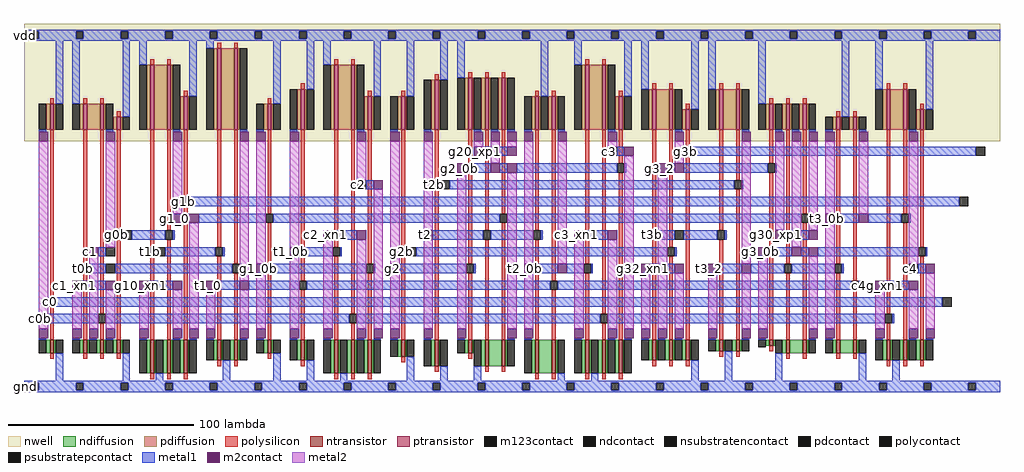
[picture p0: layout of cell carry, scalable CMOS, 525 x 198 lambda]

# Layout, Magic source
magic
tech scmos
<< nwell >>
rect 0 135 525 198
<< ntransistor >>
rect 14 21 16 28
rect 32 21 34 28
rect 41 21 43 28
rect 50 21 52 28
rect 68 10 70 28
rect 77 10 79 28
rect 86 10 88 28
rect 104 17 106 28
rect 113 17 115 28
rect 131 21 133 28
rect 149 17 151 28
rect 167 10 169 28
rect 176 10 178 28
rect 185 10 187 28
rect 203 19 205 28
rect 221 14 223 28
rect 239 21 241 28
rect 248 14 250 28
rect 257 14 259 28
rect 275 10 277 28
rect 284 10 286 28
rect 302 10 304 28
rect 311 10 313 28
rect 320 10 322 28
rect 338 17 340 28
rect 347 17 349 28
rect 356 17 358 28
rect 374 22 376 28
rect 383 22 385 28
rect 401 25 403 28
rect 410 21 412 28
rect 419 21 421 28
rect 437 21 439 28
rect 446 21 448 28
rect 464 17 466 28
rect 473 17 475 28
rect 482 17 484 28
<< ptransistor >>
rect 14 141 16 155
rect 32 141 34 155
rect 41 141 43 155
rect 50 141 52 148
rect 68 141 70 176
rect 77 141 79 176
rect 86 141 88 159
rect 104 141 106 185
rect 113 141 115 185
rect 131 141 133 155
rect 149 141 151 163
rect 167 141 169 176
rect 176 141 178 176
rect 185 141 187 159
rect 203 141 205 159
rect 221 141 223 168
rect 239 141 241 169
rect 248 141 250 169
rect 257 141 259 169
rect 275 141 277 159
rect 284 141 286 159
rect 302 141 304 176
rect 311 141 313 176
rect 320 141 322 159
rect 338 141 340 163
rect 347 141 349 163
rect 356 141 358 152
rect 374 141 376 163
rect 383 141 385 163
rect 401 141 403 155
rect 410 141 412 155
rect 419 141 421 155
rect 437 141 439 148
rect 446 141 448 148
rect 464 141 466 163
rect 473 141 475 163
rect 482 141 484 152
<< ndiffusion >>
rect 12 21 14 28
rect 16 21 17 28
rect 30 21 32 28
rect 34 21 35 28
rect 39 21 41 28
rect 43 21 44 28
rect 48 21 50 28
rect 52 21 53 28
rect 66 10 68 28
rect 70 10 71 28
rect 75 10 77 28
rect 79 10 80 28
rect 84 10 86 28
rect 88 10 89 28
rect 102 17 104 28
rect 106 17 107 28
rect 111 17 113 28
rect 115 17 116 28
rect 129 21 131 28
rect 133 21 134 28
rect 147 17 149 28
rect 151 17 152 28
rect 165 10 167 28
rect 169 10 170 28
rect 174 10 176 28
rect 178 10 179 28
rect 183 10 185 28
rect 187 10 188 28
rect 201 19 203 28
rect 205 19 206 28
rect 219 14 221 28
rect 223 14 224 28
rect 237 21 239 28
rect 241 21 242 28
rect 246 14 248 28
rect 250 14 257 28
rect 259 14 260 28
rect 273 10 275 28
rect 277 10 284 28
rect 286 10 287 28
rect 300 10 302 28
rect 304 10 305 28
rect 309 10 311 28
rect 313 10 314 28
rect 318 10 320 28
rect 322 10 323 28
rect 336 17 338 28
rect 340 17 341 28
rect 345 17 347 28
rect 349 17 350 28
rect 354 17 356 28
rect 358 17 359 28
rect 372 22 374 28
rect 376 22 377 28
rect 381 22 383 28
rect 385 22 386 28
rect 399 25 401 28
rect 403 25 404 28
rect 408 21 410 28
rect 412 21 419 28
rect 421 21 422 28
rect 435 21 437 28
rect 439 21 446 28
rect 448 21 449 28
rect 462 17 464 28
rect 466 17 467 28
rect 471 17 473 28
rect 475 17 476 28
rect 480 17 482 28
rect 484 17 485 28
<< pdiffusion >>
rect 12 141 14 155
rect 16 141 17 155
rect 30 141 32 155
rect 34 141 41 155
rect 43 141 44 155
rect 48 141 50 148
rect 52 141 53 148
rect 66 141 68 176
rect 70 141 77 176
rect 79 141 80 176
rect 84 141 86 159
rect 88 141 89 159
rect 102 141 104 185
rect 106 141 113 185
rect 115 141 116 185
rect 129 141 131 155
rect 133 141 134 155
rect 147 141 149 163
rect 151 141 152 163
rect 165 141 167 176
rect 169 141 176 176
rect 178 141 179 176
rect 183 141 185 159
rect 187 141 188 159
rect 201 141 203 159
rect 205 141 206 159
rect 219 141 221 168
rect 223 141 224 168
rect 237 141 239 169
rect 241 141 242 169
rect 246 141 248 169
rect 250 141 251 169
rect 255 141 257 169
rect 259 141 260 169
rect 273 141 275 159
rect 277 141 278 159
rect 282 141 284 159
rect 286 141 287 159
rect 300 141 302 176
rect 304 141 311 176
rect 313 141 314 176
rect 318 141 320 159
rect 322 141 323 159
rect 336 141 338 163
rect 340 141 347 163
rect 349 141 350 163
rect 354 141 356 152
rect 358 141 359 152
rect 372 141 374 163
rect 376 141 383 163
rect 385 141 386 163
rect 399 141 401 155
rect 403 141 404 155
rect 408 141 410 155
rect 412 141 413 155
rect 417 141 419 155
rect 421 141 422 155
rect 435 141 437 148
rect 439 141 440 148
rect 444 141 446 148
rect 448 141 449 148
rect 462 141 464 163
rect 466 141 473 163
rect 475 141 476 163
rect 480 141 482 152
rect 484 141 485 152
<< ndcontact >>
rect 8 21 12 28
rect 17 21 21 28
rect 26 21 30 28
rect 35 21 39 28
rect 44 21 48 28
rect 53 21 57 28
rect 62 10 66 28
rect 71 10 75 28
rect 80 10 84 28
rect 89 10 93 28
rect 98 17 102 28
rect 107 17 111 28
rect 116 17 120 28
rect 125 21 129 28
rect 134 21 138 28
rect 143 17 147 28
rect 152 17 156 28
rect 161 10 165 28
rect 170 10 174 28
rect 179 10 183 28
rect 188 10 192 28
rect 197 19 201 28
rect 206 19 210 28
rect 215 14 219 28
rect 224 14 228 28
rect 233 21 237 28
rect 242 14 246 28
rect 260 14 264 28
rect 269 10 273 28
rect 287 10 291 28
rect 296 10 300 28
rect 305 10 309 28
rect 314 10 318 28
rect 323 10 327 28
rect 332 17 336 28
rect 341 17 345 28
rect 350 17 354 28
rect 359 17 363 28
rect 368 22 372 28
rect 377 22 381 28
rect 386 22 390 28
rect 395 24 399 28
rect 404 21 408 28
rect 422 21 426 28
rect 431 21 435 28
rect 449 21 453 28
rect 458 17 462 28
rect 467 17 471 28
rect 476 17 480 28
rect 485 17 489 28
<< pdcontact >>
rect 8 141 12 155
rect 17 141 21 155
rect 26 141 30 155
rect 44 141 48 155
rect 53 141 57 148
rect 62 141 66 176
rect 80 141 84 176
rect 89 141 93 159
rect 98 141 102 185
rect 116 141 120 185
rect 125 141 129 155
rect 134 141 138 155
rect 143 141 147 163
rect 152 141 156 163
rect 161 141 165 176
rect 179 141 183 176
rect 188 141 192 159
rect 197 141 201 159
rect 206 141 210 159
rect 215 141 219 168
rect 224 141 228 168
rect 233 141 237 169
rect 242 141 246 169
rect 251 141 255 169
rect 260 141 264 169
rect 269 141 273 159
rect 278 141 282 159
rect 287 141 291 159
rect 296 141 300 176
rect 314 141 318 176
rect 323 141 327 159
rect 332 141 336 163
rect 350 141 354 163
rect 359 141 363 152
rect 368 141 372 163
rect 386 141 390 163
rect 395 141 399 155
rect 404 141 408 155
rect 413 141 417 155
rect 422 141 426 155
rect 431 141 435 148
rect 440 141 444 148
rect 449 141 453 148
rect 458 141 462 163
rect 476 141 480 163
rect 485 141 489 152
<< psubstratepcontact >>
rect 4 1 8 5
rect 28 1 32 5
rect 52 1 56 5
rect 76 1 80 5
rect 100 1 104 5
rect 124 1 128 5
rect 148 1 152 5
rect 172 1 176 5
rect 196 1 200 5
rect 220 1 224 5
rect 244 1 248 5
rect 268 1 272 5
rect 292 1 296 5
rect 316 1 320 5
rect 340 1 344 5
rect 364 1 368 5
rect 388 1 392 5
rect 412 1 416 5
rect 436 1 440 5
rect 460 1 464 5
rect 484 1 488 5
rect 508 1 512 5
<< nsubstratencontact >>
rect 4 190 8 194
rect 28 190 32 194
rect 52 190 56 194
rect 76 190 80 194
rect 100 190 104 194
rect 124 190 128 194
rect 148 190 152 194
rect 172 190 176 194
rect 196 190 200 194
rect 220 190 224 194
rect 244 190 248 194
rect 268 190 272 194
rect 292 190 296 194
rect 316 190 320 194
rect 340 190 344 194
rect 364 190 368 194
rect 388 190 392 194
rect 412 190 416 194
rect 436 190 440 194
rect 460 190 464 194
rect 484 190 488 194
rect 508 190 512 194
<< polysilicon >>
rect 104 185 106 188
rect 113 185 115 188
rect 68 176 70 179
rect 77 176 79 179
rect 14 155 16 158
rect 32 155 34 158
rect 41 155 43 158
rect 50 148 52 151
rect 86 159 88 162
rect 167 176 169 179
rect 176 176 178 179
rect 302 176 304 179
rect 311 176 313 179
rect 149 163 151 166
rect 131 155 133 158
rect 221 168 223 171
rect 239 169 241 172
rect 248 169 250 172
rect 257 169 259 172
rect 185 159 187 162
rect 203 159 205 162
rect 275 159 277 162
rect 284 159 286 162
rect 338 163 340 166
rect 347 163 349 166
rect 374 163 376 166
rect 383 163 385 166
rect 464 163 466 166
rect 473 163 475 166
rect 320 159 322 162
rect 356 152 358 155
rect 401 155 403 158
rect 410 155 412 158
rect 419 155 421 158
rect 437 148 439 151
rect 446 148 448 151
rect 482 152 484 155
rect 14 51 16 141
rect 32 69 34 141
rect 14 28 16 46
rect 32 28 34 64
rect 41 42 43 141
rect 50 87 52 141
rect 41 28 43 37
rect 50 28 52 82
rect 68 78 70 141
rect 77 87 79 141
rect 86 105 88 141
rect 68 28 70 73
rect 77 28 79 82
rect 86 28 88 100
rect 104 78 106 141
rect 104 28 106 73
rect 113 69 115 141
rect 131 96 133 141
rect 113 28 115 64
rect 131 28 133 91
rect 149 60 151 141
rect 167 78 169 141
rect 149 28 151 55
rect 167 28 169 73
rect 176 42 178 141
rect 185 69 187 141
rect 203 78 205 141
rect 221 114 223 141
rect 176 28 178 37
rect 185 28 187 64
rect 203 28 205 73
rect 221 28 223 109
rect 239 69 241 141
rect 248 87 250 141
rect 257 96 259 141
rect 239 28 241 64
rect 248 28 250 82
rect 257 28 259 91
rect 275 87 277 141
rect 275 28 277 82
rect 284 60 286 141
rect 302 69 304 141
rect 284 28 286 55
rect 302 28 304 64
rect 311 42 313 141
rect 320 123 322 141
rect 311 28 313 37
rect 320 28 322 118
rect 338 87 340 141
rect 338 28 340 82
rect 347 78 349 141
rect 356 132 358 141
rect 347 28 349 73
rect 356 28 358 127
rect 374 87 376 141
rect 383 114 385 141
rect 401 123 403 141
rect 374 28 376 82
rect 383 28 385 109
rect 401 28 403 118
rect 410 69 412 141
rect 419 96 421 141
rect 410 28 412 64
rect 419 28 421 91
rect 437 69 439 141
rect 437 28 439 64
rect 446 60 448 141
rect 446 28 448 55
rect 464 42 466 141
rect 473 96 475 141
rect 464 28 466 37
rect 473 28 475 91
rect 482 78 484 141
rect 482 28 484 73
rect 14 18 16 21
rect 32 18 34 21
rect 41 18 43 21
rect 50 18 52 21
rect 131 18 133 21
rect 104 14 106 17
rect 113 14 115 17
rect 149 14 151 17
rect 203 16 205 19
rect 239 18 241 21
rect 221 11 223 14
rect 248 11 250 14
rect 257 11 259 14
rect 401 22 403 25
rect 374 19 376 22
rect 383 19 385 22
rect 410 18 412 21
rect 419 18 421 21
rect 437 18 439 21
rect 446 18 448 21
rect 338 14 340 17
rect 347 14 349 17
rect 356 14 358 17
rect 464 14 466 17
rect 473 14 475 17
rect 482 14 484 17
rect 68 7 70 10
rect 77 7 79 10
rect 86 7 88 10
rect 167 7 169 10
rect 176 7 178 10
rect 185 7 187 10
rect 275 7 277 10
rect 284 7 286 10
rect 302 7 304 10
rect 311 7 313 10
rect 320 7 322 10
<< polycontact >>
rect 31 64 35 69
rect 13 46 17 51
rect 49 82 53 87
rect 40 37 44 42
rect 85 100 89 105
rect 76 82 80 87
rect 67 73 71 78
rect 103 73 107 78
rect 130 91 134 96
rect 112 64 116 69
rect 166 73 170 78
rect 148 55 152 60
rect 220 109 224 114
rect 202 73 206 78
rect 184 64 188 69
rect 175 37 179 42
rect 256 91 260 96
rect 247 82 251 87
rect 238 64 242 69
rect 274 82 278 87
rect 301 64 305 69
rect 283 55 287 60
rect 319 118 323 123
rect 310 37 314 42
rect 337 82 341 87
rect 355 127 359 132
rect 346 73 350 78
rect 400 118 404 123
rect 382 109 386 114
rect 373 82 377 87
rect 418 91 422 96
rect 409 64 413 69
rect 436 64 440 69
rect 445 55 449 60
rect 472 91 476 96
rect 463 37 467 42
rect 481 73 485 78
<< metal1 >>
rect 0 194 525 195
rect 0 190 4 194
rect 8 190 28 194
rect 32 190 52 194
rect 56 190 76 194
rect 80 190 100 194
rect 104 190 124 194
rect 128 190 148 194
rect 152 190 172 194
rect 176 190 196 194
rect 200 190 220 194
rect 224 190 244 194
rect 248 190 268 194
rect 272 190 292 194
rect 296 190 316 194
rect 320 190 340 194
rect 344 190 364 194
rect 368 190 388 194
rect 392 190 412 194
rect 416 190 436 194
rect 440 190 460 194
rect 464 190 484 194
rect 488 190 508 194
rect 512 190 525 194
rect 0 189 525 190
rect 17 155 21 189
rect 26 155 30 189
rect 53 148 57 189
rect 62 176 66 189
rect 89 159 93 189
rect 98 185 102 189
rect 134 155 138 189
rect 152 163 156 189
rect 8 140 12 141
rect 44 140 48 141
rect 80 140 84 141
rect 116 140 120 141
rect 161 176 165 189
rect 188 159 192 189
rect 206 159 210 189
rect 224 168 228 189
rect 233 169 237 189
rect 125 140 129 141
rect 143 140 147 141
rect 179 140 183 141
rect 197 140 201 141
rect 215 140 219 141
rect 242 140 246 141
rect 251 140 255 141
rect 278 159 282 189
rect 296 176 300 189
rect 260 140 264 141
rect 323 159 327 189
rect 332 163 336 189
rect 359 152 363 189
rect 368 163 372 189
rect 395 155 399 189
rect 269 140 273 141
rect 287 140 291 141
rect 314 140 318 141
rect 350 140 354 141
rect 386 140 390 141
rect 404 140 408 141
rect 413 140 417 141
rect 440 148 444 189
rect 458 163 462 189
rect 422 140 426 141
rect 485 152 489 189
rect 431 140 435 141
rect 449 140 453 141
rect 476 140 480 141
rect 247 127 260 132
rect 319 127 323 132
rect 359 127 512 132
rect 238 118 251 123
rect 256 118 260 123
rect 265 118 319 123
rect 323 118 324 123
rect 346 118 350 123
rect 355 118 400 123
rect 404 118 405 123
rect 184 109 188 114
rect 229 109 382 114
rect 386 109 387 114
rect 89 100 503 105
rect 85 91 89 96
rect 94 91 130 96
rect 134 91 256 96
rect 260 91 418 96
rect 422 91 423 96
rect 436 91 449 96
rect 454 91 472 96
rect 476 91 477 96
rect 58 82 76 87
rect 80 82 81 87
rect 166 82 179 87
rect 220 82 247 87
rect 251 82 274 87
rect 278 82 279 87
rect 301 82 314 87
rect 341 82 350 87
rect 355 82 373 87
rect 377 82 378 87
rect 409 82 422 87
rect 40 73 44 78
rect 76 73 103 78
rect 107 73 108 78
rect 148 73 166 78
rect 170 73 171 78
rect 211 73 346 78
rect 350 73 351 78
rect 400 73 413 78
rect 418 73 422 78
rect 427 73 481 78
rect 485 73 486 78
rect 35 64 44 69
rect 49 64 112 69
rect 116 64 117 69
rect 130 64 184 69
rect 188 64 189 69
rect 202 64 238 69
rect 242 64 243 69
rect 274 64 287 69
rect 292 64 301 69
rect 305 64 306 69
rect 337 64 350 69
rect 373 64 386 69
rect 391 64 409 69
rect 413 64 436 69
rect 440 64 441 69
rect 481 64 485 69
rect 31 55 44 60
rect 67 55 80 60
rect 103 55 116 60
rect 121 55 148 60
rect 152 55 283 60
rect 287 55 445 60
rect 449 55 450 60
rect 463 55 476 60
rect 17 46 494 51
rect 13 37 40 42
rect 44 37 175 42
rect 179 37 310 42
rect 314 37 463 42
rect 467 37 468 42
rect 8 28 12 29
rect 26 28 30 29
rect 35 28 39 29
rect 44 28 48 29
rect 62 28 66 29
rect 80 28 84 29
rect 17 6 21 21
rect 53 6 57 21
rect 89 28 93 29
rect 98 28 102 29
rect 116 28 120 29
rect 125 28 129 29
rect 143 28 147 29
rect 161 28 165 29
rect 179 28 183 29
rect 71 6 75 10
rect 107 6 111 17
rect 134 6 138 21
rect 152 6 156 17
rect 188 28 192 29
rect 197 28 201 29
rect 215 28 219 29
rect 233 28 237 29
rect 260 28 264 29
rect 170 6 174 10
rect 206 6 210 19
rect 224 6 228 14
rect 269 28 273 29
rect 296 28 300 29
rect 314 28 318 29
rect 242 6 246 14
rect 323 28 327 29
rect 332 28 336 29
rect 341 28 345 29
rect 350 28 354 29
rect 368 28 372 29
rect 386 28 390 29
rect 395 28 399 29
rect 422 28 426 29
rect 287 6 291 10
rect 305 6 309 10
rect 359 6 363 17
rect 377 6 381 22
rect 431 28 435 29
rect 458 28 462 29
rect 476 28 480 29
rect 404 6 408 21
rect 449 6 453 21
rect 485 28 489 29
rect 467 6 471 17
rect 0 5 525 6
rect 0 1 4 5
rect 8 1 28 5
rect 32 1 52 5
rect 56 1 76 5
rect 80 1 100 5
rect 104 1 124 5
rect 128 1 148 5
rect 152 1 172 5
rect 176 1 196 5
rect 200 1 220 5
rect 224 1 244 5
rect 248 1 268 5
rect 272 1 292 5
rect 296 1 316 5
rect 320 1 340 5
rect 344 1 364 5
rect 368 1 388 5
rect 392 1 412 5
rect 416 1 436 5
rect 440 1 460 5
rect 464 1 484 5
rect 488 1 508 5
rect 512 1 525 5
rect 0 0 525 1
<< m2contact >>
rect 8 135 13 140
rect 44 135 49 140
rect 80 135 85 140
rect 116 135 121 140
rect 125 135 130 140
rect 143 135 148 140
rect 179 135 184 140
rect 197 135 202 140
rect 215 135 220 140
rect 242 135 247 140
rect 251 135 256 140
rect 260 135 265 140
rect 269 135 274 140
rect 287 135 292 140
rect 314 135 319 140
rect 350 135 355 140
rect 386 135 391 140
rect 404 135 409 140
rect 413 135 418 140
rect 422 135 427 140
rect 431 135 436 140
rect 449 135 454 140
rect 476 135 481 140
rect 242 127 247 132
rect 260 127 265 132
rect 323 127 328 132
rect 233 118 238 123
rect 251 118 256 123
rect 260 118 265 123
rect 341 118 346 123
rect 350 118 355 123
rect 188 109 193 114
rect 80 91 85 96
rect 89 91 94 96
rect 431 91 436 96
rect 449 91 454 96
rect 161 82 166 87
rect 179 82 184 87
rect 215 82 220 87
rect 296 82 301 87
rect 314 82 319 87
rect 404 82 409 87
rect 422 82 427 87
rect 35 73 40 78
rect 143 73 148 78
rect 395 73 400 78
rect 413 73 418 78
rect 422 73 427 78
rect 125 64 130 69
rect 197 64 202 69
rect 269 64 274 69
rect 287 64 292 69
rect 332 64 337 69
rect 350 64 355 69
rect 368 64 373 69
rect 386 64 391 69
rect 485 64 490 69
rect 26 55 31 60
rect 44 55 49 60
rect 62 55 67 60
rect 80 55 85 60
rect 98 55 103 60
rect 116 55 121 60
rect 458 55 463 60
rect 476 55 481 60
rect 8 37 13 42
rect 8 29 13 34
rect 26 29 31 34
rect 35 29 40 34
rect 44 29 49 34
rect 62 29 67 34
rect 80 29 85 34
rect 89 29 94 34
rect 98 29 103 34
rect 116 29 121 34
rect 125 29 130 34
rect 143 29 148 34
rect 161 29 166 34
rect 179 29 184 34
rect 188 29 193 34
rect 197 29 202 34
rect 215 29 220 34
rect 233 29 238 34
rect 260 29 265 34
rect 269 29 274 34
rect 296 29 301 34
rect 314 29 319 34
rect 323 29 328 34
rect 332 29 337 34
rect 341 29 346 34
rect 350 29 355 34
rect 368 29 373 34
rect 386 29 391 34
rect 395 29 400 34
rect 422 29 427 34
rect 431 29 436 34
rect 458 29 463 34
rect 476 29 481 34
rect 485 29 490 34
<< metal2 >>
rect 8 42 13 135
rect 44 78 49 135
rect 80 96 85 135
rect 8 34 13 37
rect 26 34 31 55
rect 35 34 40 73
rect 44 34 49 55
rect 62 34 67 55
rect 80 34 85 55
rect 89 34 94 91
rect 116 60 121 135
rect 98 34 103 55
rect 116 34 121 55
rect 125 69 130 135
rect 125 34 130 64
rect 143 78 148 135
rect 179 114 184 135
rect 143 34 148 73
rect 161 34 166 82
rect 179 34 184 82
rect 188 34 193 109
rect 197 69 202 135
rect 215 87 220 135
rect 242 132 247 135
rect 251 123 256 135
rect 260 132 265 135
rect 197 34 202 64
rect 215 34 220 82
rect 233 34 238 118
rect 260 34 265 118
rect 269 69 274 135
rect 287 69 292 135
rect 314 132 319 135
rect 269 34 274 64
rect 296 34 301 82
rect 314 34 319 82
rect 323 34 328 127
rect 350 123 355 135
rect 332 34 337 64
rect 341 34 346 118
rect 386 69 391 135
rect 404 87 409 135
rect 413 78 418 135
rect 422 87 427 135
rect 431 96 436 135
rect 449 96 454 135
rect 350 34 355 64
rect 368 34 373 64
rect 386 34 391 64
rect 395 34 400 73
rect 422 34 427 73
rect 431 34 436 91
rect 476 69 481 135
rect 458 34 463 55
rect 476 34 481 55
rect 485 34 490 64
<< m123contact >>
rect 53 82 58 87
rect 44 73 49 78
rect 71 73 76 78
rect 44 64 49 69
rect 179 109 184 114
rect 224 109 229 114
rect 206 73 211 78
rect 314 127 319 132
rect 350 82 355 87
rect 512 127 517 132
rect 503 100 508 105
rect 476 64 481 69
rect 494 46 499 51
<< labels >>
rlabel metal1 13 46 15 51 0 c0
port 1 nsew
rlabel m2contact 35 73 37 78 0 c1
port 2 nsew
rlabel metal1 179 109 181 114 0 c2
port 3 nsew
rlabel metal1 314 127 316 132 0 c3
port 4 nsew
rlabel metal1 476 64 478 69 0 c4
port 5 nsew
rlabel metal1 49 82 51 87 0 g0b
port 6 nsew
rlabel metal1 85 100 87 105 0 g1b
port 7 nsew
rlabel metal1 202 73 204 78 0 g2b
port 8 nsew
rlabel metal1 355 127 357 132 0 g3b
port 9 nsew
rlabel metal1 31 64 33 69 0 t0b
port 10 nsew
rlabel metal1 67 73 69 78 0 t1b
port 11 nsew
rlabel metal1 220 109 222 114 0 t2b
port 12 nsew
rlabel metal1 337 82 339 87 0 t3b
port 13 nsew
rlabel m2contact 8 37 10 42 0 c0b
rlabel m2contact 26 55 28 60 0 c1_xn1
rlabel m2contact 161 82 163 87 0 c2_xn1
rlabel m2contact 296 82 298 87 0 c3_xn1
rlabel m2contact 458 55 460 60 0 c4g_xn1
rlabel m2contact 62 55 64 60 0 g10_xn1
rlabel m2contact 80 91 82 96 0 g1_0
rlabel m2contact 125 64 127 69 0 g1_0b
rlabel m2contact 197 64 199 69 0 g2
rlabel m2contact 242 127 244 132 0 g20_xp1
rlabel m2contact 233 118 235 123 0 g2_0b
rlabel m2contact 404 82 406 87 0 g30_xp1
rlabel m2contact 332 64 334 69 0 g32_xn1
rlabel m2contact 395 73 397 78 0 g3_0b
rlabel m2contact 341 118 343 123 0 g3_2
rlabel m2contact 98 55 100 60 0 t1_0
rlabel m2contact 143 73 145 78 0 t1_0b
rlabel m2contact 215 82 217 87 0 t2
rlabel m2contact 269 64 271 69 0 t2_0b
rlabel m2contact 431 91 433 96 0 t3_0b
rlabel m2contact 368 64 370 69 0 t3_2
rlabel metal1 0 189 2 195 0 vdd
port 14 nsew
rlabel metal1 0 0 2 6 0 gnd
port 15 nsew
<< end >>
